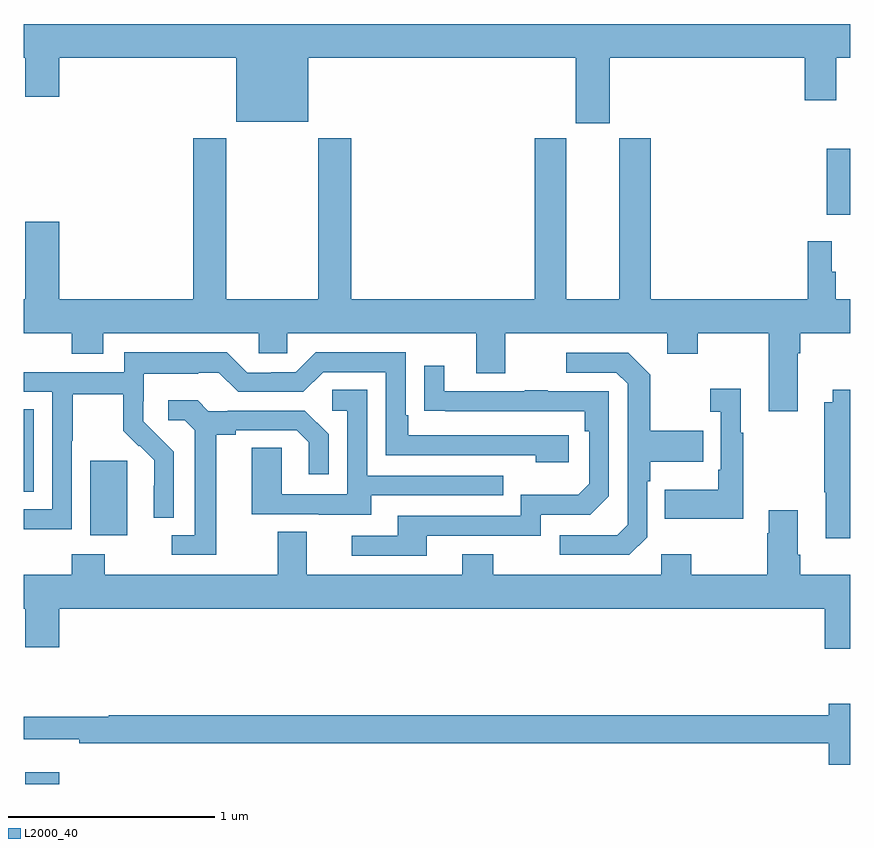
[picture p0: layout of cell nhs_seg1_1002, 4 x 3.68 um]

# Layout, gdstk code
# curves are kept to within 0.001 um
import gdstk
lib = gdstk.Library(unit=1e-6, precision=1e-09)
def R(c, l, rs):  # rectangles x0, y0, x1, y1
    for r in rs: c.add(gdstk.rectangle(r[:2], r[2:], *l))
def P(c, l, *ps):  # polygons
    for p in ps: c.add(gdstk.Polygon(p, *l))
L2000_40 = (2000, 40)

nhs_seg1_1002 = lib.new_cell('nhs_seg1_1002')
R(nhs_seg1_1002, L2000_40, [(165.008,568.199,165.172,568.255), (165.323,569.402,165.502,569.763), (165,569.614,165.049,570.011), (168.886,570.954,169,571.273)])
P(nhs_seg1_1002, L2000_40, [(167.836,571.712),(168.779,571.712),(168.779,571.506),(168.931,571.506),(168.931,571.712),(169,571.712),(169,571.876),(165,571.876),(165,571.712),(165.008,571.712),(165.008,571.524),(165.172,571.524),(165.172,571.712),(166.028,571.712),(166.028,571.403),(166.378,571.403),(166.378,571.712),(167.672,571.712),(167.672,571.395),(167.836,571.395)],
  [(168.745,570.284),(168.758,570.284),(168.758,570.38),(169,570.38),(169,570.544),(168.929,570.544),(168.929,570.677),(168.91,570.677),(168.91,570.826),(168.793,570.826),(168.793,570.544),(168.035,570.544),(168.035,571.323),(167.882,571.323),(167.882,570.544),(167.626,570.544),(167.626,571.323),(167.474,571.323),(167.474,570.544),(166.586,570.544),(166.586,571.324),(166.426,571.324),(166.426,570.544),(165.981,570.544),(165.981,571.324),(165.821,571.324),(165.821,570.544),(165.172,570.544),(165.172,570.919),(165.008,570.919),(165.008,570.544),(165,570.544),(165,570.38),(165.233,570.38),(165.233,570.281),(165.385,570.281),(165.385,570.38),(166.137,570.38),(166.137,570.282),(166.275,570.282),(166.275,570.38),(167.189,570.38),(167.189,570.186),(167.329,570.186),(167.329,570.38),(168.113,570.38),(168.113,570.281),(168.261,570.281),(168.261,570.38),(168.605,570.38),(168.605,570.003),(168.745,570.003)],
  [(165.234,569.86),(165.237,569.86),(165.237,570.084),(165.481,570.084),(165.481,569.909),(165.558,569.832),(165.561,569.835),(165.632,569.765),(165.632,569.642),(165.63,569.642),(165.63,569.488),(165.726,569.488),(165.726,569.806),(165.58,569.954),(165.58,570.051),(165.582,570.051),(165.582,570.185),(165.845,570.185),(165.845,570.189),(165.945,570.189),(166.038,570.096),(166.353,570.096),(166.449,570.192),(166.752,570.192),(166.752,569.79),(167.477,569.79),(167.477,569.756),(167.638,569.756),(167.638,569.886),(166.861,569.886),(166.861,569.983),(166.848,569.983),(166.848,570.288),(166.413,570.288),(166.317,570.192),(166.199,570.192),(166.199,570.189),(166.083,570.189),(165.983,570.289),(165.486,570.289),(165.486,570.192),(165,570.192),(165,570.096),(165.138,570.096),(165.138,569.529),(165,569.529),(165,569.431),(165.234,569.431)],
  [(168.018,569.394),(168.018,569.663),(168.031,569.663),(168.031,569.759),(168.287,569.759),(168.287,569.907),(168.031,569.907),(168.031,570.179),(167.925,570.285),(167.625,570.285),(167.625,570.189),(167.868,570.189),(167.922,570.135),(167.922,569.454),(167.871,569.403),(167.595,569.403),(167.595,569.307),(167.931,569.307)],
  [(166.951,569.4),(167.502,569.4),(167.502,569.502),(167.742,569.502),(167.832,569.592),(167.832,570.099),(167.537,570.099),(167.537,570.104),(167.425,570.104),(167.425,570.099),(167.035,570.099),(167.035,570.223),(166.939,570.223),(166.939,570.004),(167.716,570.003),(167.716,569.906),(167.736,569.906),(167.736,569.652),(167.683,569.599),(167.406,569.599),(167.406,569.496),(166.811,569.496),(166.811,569.4),(166.587,569.4),(166.587,569.304),(166.951,569.304)],
  [(168.481,569.899),(168.469,569.899),(168.469,570.112),(168.321,570.112),(168.321,569.999),(168.372,569.999),(168.372,569.719),(168.36,569.719),(168.36,569.623),(168.103,569.623),(168.103,569.483),(168.481,569.483)],
  [(166.681,569.595),(167.321,569.595),(167.321,569.691),(166.662,569.691),(166.662,570.107),(166.494,570.107),(166.494,570.006),(166.566,570.006),(166.566,569.601),(166.248,569.601),(166.248,569.825),(166.103,569.825),(166.103,569.505),(166.427,569.505),(166.427,569.501),(166.681,569.501)],
  [(169,570.106),(168.914,570.106),(168.914,570.046),(168.874,570.046),(168.874,569.611),(168.881,569.611),(168.881,569.388),(169,569.388)],
  [(165.931,569.888),(166.027,569.888),(166.027,569.91),(166.322,569.91),(166.379,569.853),(166.379,569.697),(166.476,569.697),(166.476,569.89),(166.36,570.006),(165.988,570.006),(165.988,570.003),(165.894,570.003),(165.842,570.055),(165.699,570.055),(165.699,569.958),(165.78,569.958),(165.827,569.911),(165.827,569.403),(165.717,569.403),(165.717,569.307),(165.931,569.307)],
  [(169,569.212),(168.758,569.212),(168.758,569.308),(168.745,569.308),(168.745,569.524),(168.605,569.524),(168.605,569.411),(168.598,569.411),(168.598,569.212),(168.231,569.212),(168.231,569.311),(168.084,569.311),(168.084,569.212),(167.271,569.212),(167.271,569.311),(167.123,569.311),(167.123,569.212),(166.369,569.212),(166.369,569.42),(166.229,569.42),(166.229,569.212),(165.393,569.212),(165.393,569.311),(165.233,569.311),(165.233,569.212),(165,569.212),(165,569.048),(165.008,569.048),(165.008,568.86),(165.172,568.86),(165.172,569.048),(168.875,569.048),(168.875,568.854),(169,568.854)],
  [(169,568.588),(168.896,568.588),(168.896,568.532),(165.413,568.532),(165.413,568.525),(165,568.525),(165,568.415),(165.268,568.415),(165.268,568.396),(168.896,568.396),(168.896,568.292),(169,568.292)])

lib.write_gds('nhs_seg1_1002.gds')
